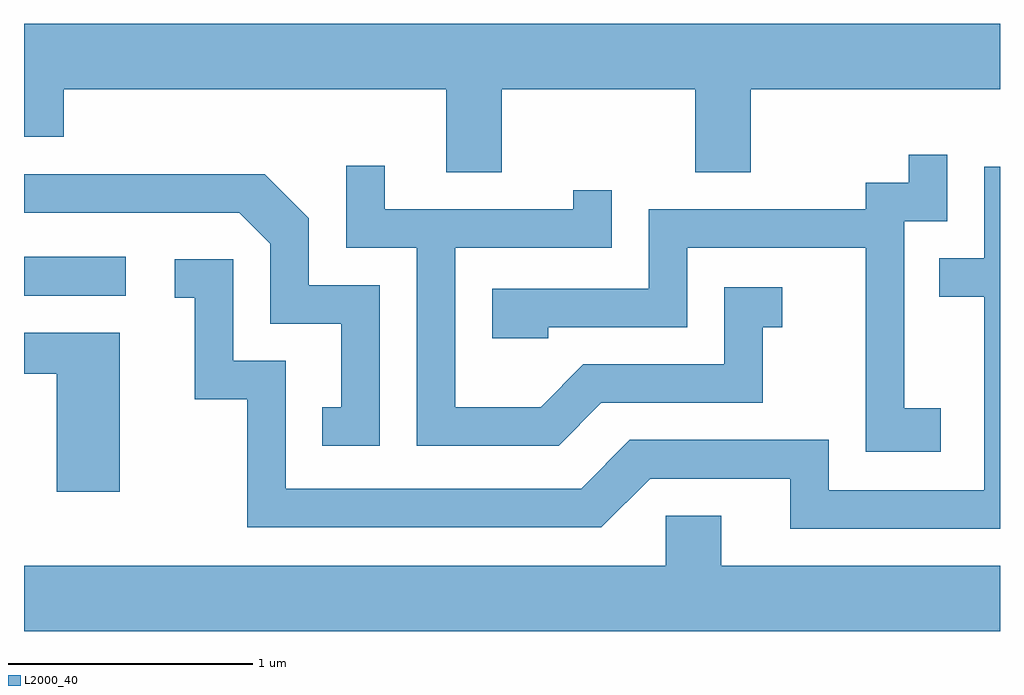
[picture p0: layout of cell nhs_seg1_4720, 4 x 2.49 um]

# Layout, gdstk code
import gdstk
lib = gdstk.Library(unit=1e-6, precision=1e-09)
def R(c, l, rs):  # rectangles x0, y0, x1, y1
    for r in rs: c.add(gdstk.rectangle(r[:2], r[2:], *l))
def P(c, l, *ps):  # polygons
    for p in ps: c.add(gdstk.Polygon(p, *l))
L2000_40 = (2000, 40)

nhs_seg1_4720 = lib.new_cell('nhs_seg1_4720')
R(nhs_seg1_4720, L2000_40, [(327.611,856.551,328.028,856.709)])
P(nhs_seg1_4720, L2000_40, [(329.569,857.396),(330.361,857.396),(330.361,857.056),(330.589,857.056),(330.589,857.396),(331.611,857.396),(331.611,857.664),(327.611,857.664),(327.611,857.201),(327.774,857.201),(327.774,857.396),(329.341,857.396),(329.341,857.056),(329.569,857.056)],
  [(331.369,856.089),(331.219,856.089),(331.219,856.856),(331.394,856.856),(331.394,857.128),(331.236,857.128),(331.236,857.014),(331.061,857.014),(331.061,856.904),(330.171,856.904),(330.171,856.579),(329.531,856.579),(329.531,856.376),(329.759,856.376),(329.759,856.421),(330.329,856.421),(330.329,856.746),(331.061,856.746),(331.061,855.911),(331.369,855.911)],
  [(329.977,856.111),(330.639,856.111),(330.639,856.421),(330.718,856.421),(330.718,856.584),(330.481,856.584),(330.481,856.269),(329.904,856.269),(329.729,856.094),(329.379,856.094),(329.379,856.746),(330.019,856.746),(330.019,856.983),(329.861,856.983),(329.861,856.904),(329.089,856.904),(329.089,857.083),(328.931,857.083),(328.931,856.746),(329.221,856.746),(329.221,855.936),(329.802,855.936)],
  [(331.611,857.079),(331.546,857.079),(331.546,856.704),(331.363,856.704),(331.363,856.546),(331.546,856.546),(331.546,855.754),(330.909,855.754),(330.909,855.959),(330.094,855.959),(329.894,855.759),(328.684,855.759),(328.684,856.284),(328.469,856.284),(328.469,856.699),(328.228,856.699),(328.228,856.541),(328.311,856.541),(328.311,856.126),(328.526,856.126),(328.526,855.601),(329.977,855.601),(330.177,855.801),(330.751,855.801),(330.751,855.596),(331.611,855.596)],
  [(329.069,856.594),(328.779,856.594),(328.779,856.867),(328.597,857.049),(327.611,857.049),(327.611,856.891),(328.494,856.891),(328.621,856.764),(328.621,856.436),(328.911,856.436),(328.911,856.094),(328.833,856.094),(328.833,855.936),(329.069,855.936)],
  [(328.004,856.399),(327.611,856.399),(327.611,856.231),(327.746,856.231),(327.746,855.746),(328.004,855.746)],
  [(331.611,855.444),(330.469,855.444),(330.469,855.649),(330.241,855.649),(330.241,855.444),(327.611,855.444),(327.611,855.176),(331.611,855.176)])

lib.write_gds('nhs_seg1_4720.gds')
